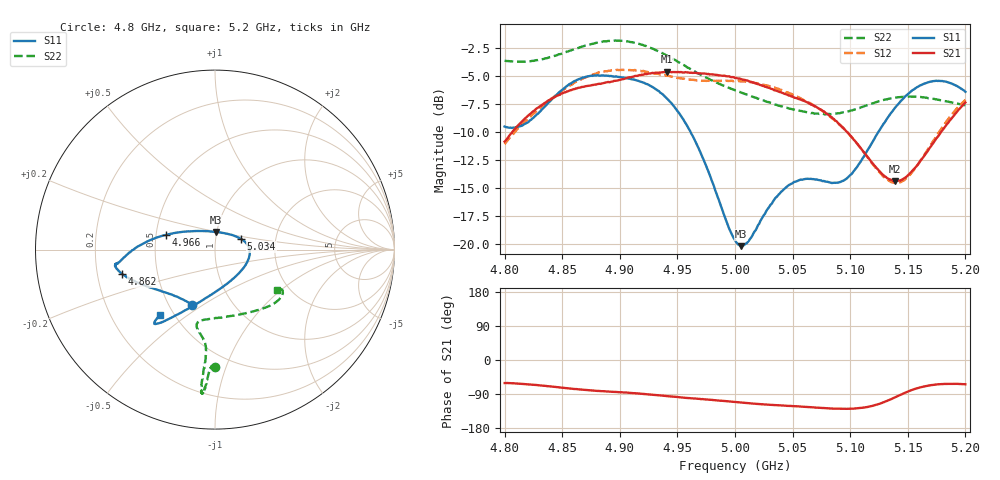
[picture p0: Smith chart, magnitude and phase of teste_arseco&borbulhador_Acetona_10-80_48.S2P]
! Network Analyzer HP8722D
! Hewlett-Packard
! Data name: Linha & Wilkinson
! Saver's name: Rodrigo Anjos
! Comments: Teste da utilização de aquisição
! continua pelo VNA HP8722D
! Time and date: 17/4/2025 14:45
!  Frequency  S11  S21  S12  S22
# HZ  S  MA R 50
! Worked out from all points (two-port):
!   401 points, 4.8 GHz to 5.2 GHz, reference 50 ohm
!   highest |S21| = -4.67 dB at 4.941 GHz (marker M1); lowest = -14.4 dB at 5.139 GHz (marker M2)
!   |S21| within 3 dB of the highest: 4.832 GHz to 5.068 GHz (236.5 MHz wide, 4.78 % of centre); 5.197525 GHz to end of sweep
!   lowest |S11| = -20.2 dB at 5.005 GHz (marker M3), VSWR 1.22, Z = 49.7 + j9.8 ohm
!   |S11| at or under -10 dB: 4.961 GHz to 5.125 GHz (163.3 MHz wide, 3.24 % of centre)
!   |S22| runs from -8.5 to -1.9 dB; largest |S21 - S12| = 0.88
!   S11 on the Smith chart (normalised r, x): 4.8 GHz: 0.65, -0.45; 4.862 GHz: 0.31, -0.12; 4.966 GHz: 0.57, +0.10; 5.034 GHz: 1.33, +0.16; 5.2 GHz: 0.42, -0.39
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4.8e9  0.3335 -113.0  0.2857 -60.8  0.2785 -174.8  0.6563 -89.8
4.819e9  0.346 -133.0  0.3672 -63.8  0.356 -173.3  0.6498 -91.4
4.862e9  0.5346 -165.4  0.4929 -76.6  0.5281 -176.4  0.7421 -93.7
4.867e9  0.5483 -167.4  0.5006 -78.2  0.5433 -177.4  0.7557 -93.8
4.901e9  0.5529 -172.0  0.5405 -85.1  0.5961 175.6  0.8041 -95.3
4.934e9  0.4794 -177.9  0.5789 -93.1  0.5713 172.0  0.7191 -95.7
4.941e9  0.4439 179.0  0.5844 -95.2  0.5627 171.9  0.69 -95.4
4.966e9  0.2835 163.1  0.5788 -101.8  0.5368 173.8  0.5825 -94.9
5e9  0.1041 103.3  0.5488 -111.0  0.533 176.3  0.4837 -99.2
5.005e9  0.09786 86.0  0.5431 -112.4  0.5297 176.4  0.473 -100.3
5.013e9  0.1053 60.3  0.5284 -114.5  0.5248 176.2  0.4572 -101.8
5.034e9  0.1573 22.0  0.4838 -119.0  0.4979 175.0  0.4192 -103.4
5.049e9  0.1856 6.6  0.4533 -121.3  0.466 174.3  0.3993 -100.2
5.067e9  0.1946 -12.4  0.4164 -124.9  0.419 173.8  0.3835 -91.1
5.086e9  0.1874 -42.5  0.3597 -128.3  0.3569 173.6  0.3799 -76.7
5.097e9  0.1958 -65.2  0.3161 -128.8  0.3164 174.5  0.3887 -67.6
5.134e9  0.3736 -115.9  0.1942 -105.4  0.191 -158.4  0.4439 -43.0
5.139e9  0.4048 -118.9  0.1908 -98.6  0.1876 -150.4  0.4485 -40.7
5.151e9  0.4692 -124.0  0.2043 -82.2  0.2015 -131.7  0.4536 -36.3
5.17e9  0.5286 -128.4  0.2718 -66.5  0.2768 -112.6  0.4449 -31.8
5.184e9  0.5266 -129.8  0.3423 -63.0  0.3541 -107.1  0.4314 -30.9
5.2e9  0.4762 -130.2  0.4269 -64.2  0.4392 -106.2  0.4156 -33.1
